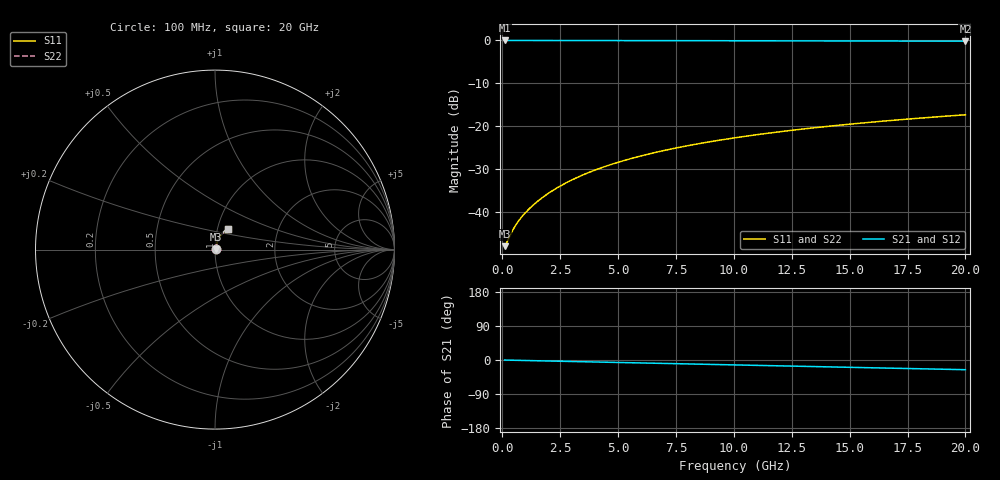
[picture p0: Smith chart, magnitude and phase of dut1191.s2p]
! Touchstone file exported from HFSS 2026.1.0
!  File:  C:/ffzhzh/LocalFiles/Ansys_Project_Files/temp_train_BSMRDL_1191_1783176309_18472.aedt
!  Generated:  10:46:20 PM Jul  4, 2026
!  Design:  BSMRDL
!  Project:  temp_train_BSMRDL_1191_1783176309_18472
! Variables:
!  h_bsmrdl = 2.63um
!  h_ox = 20um
!  h_rdl = 5um
!  h_sub = 80um
!  h_tmrdl = 5um
!  h_tsv = 80um
!  h_via = 3um
!  l_bsmrdl = 429.22um
!  l_sub = 829.22um
!  l_tmrdl = 200um
!  m_sub = 200um
!  pitch = 22.59um
!  r_tsv = 6um
!  s_tmrdl = 10um
!  w_bsmrdl = 15.7um
!  w_sub = 500um
!  w_tmrdl = 12um
!  x_tsv_center1 = 206um
!  x_tsv_center2 = 650.92um
!  x_tsv_center3 = 862.92um
!  x_tsv_center4 = 1307.84um
!  x_tsv_center5 = 1519.84um
!  x_tsv_center6 = 1964.76um
# GHz S MA R 50.000000
! Terminal data exported
! Port[1] = BSM_RDL1_1_T1
! Port[2] = BSM_RDL1_1_T2
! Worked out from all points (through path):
!   200 points, 100 MHz to 20 GHz, reference 50 ohm
!   highest |S21| = -0.03 dB at 100 MHz (marker M1); lowest = -0.2 dB at 20 GHz (marker M2)
!   group delay of S21, straight-line fit = 3.55 ps
!   lowest |S11| = -47.9 dB at 100 MHz (marker M3), VSWR 1.01, Z = 50.4 + j0.102 ohm
!   |S11| at or under -10 dB: start of sweep to end of sweep
!   |S22| runs from -47.9 to -17.3 dB; largest |S21 - S12| = 3.4e-15
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0.1  0.004025 14.6  0.9961 -0.1  0.9961 -0.1  0.004025 14.6
! Gamma 0 0 0 0
! Port Impedance 50 0 50 0
0.2  0.004484 26.5  0.996 -0.3  0.996 -0.3  0.004484 26.5
0.4  0.0058 41.0  0.9956 -0.6  0.9956 -0.6  0.0058 41.0
0.5  0.006506 45.3  0.9955 -0.7  0.9955 -0.7  0.006506 45.3
0.7  0.00789 51.2  0.9951 -1.0  0.9951 -1.0  0.00789 51.2
1  0.009892 57.0  0.9948 -1.4  0.9948 -1.4  0.009892 57.0
1.3  0.01188 61.2  0.9946 -1.8  0.9946 -1.8  0.01188 61.2
1.5  0.01322 63.3  0.9944 -2.0  0.9944 -2.0  0.01322 63.3
1.8  0.01526 65.9  0.9943 -2.4  0.9943 -2.4  0.01526 65.9
2.3  0.01873 68.9  0.994 -3.1  0.994 -3.1  0.01873 68.9
2.9  0.02298 71.0  0.9938 -3.8  0.9938 -3.8  0.02298 71.0
3.5  0.02728 72.3  0.9935 -4.6  0.9935 -4.6  0.02728 72.3
4.2  0.03232 73.0  0.9931 -5.5  0.9931 -5.5  0.03232 73.0
5  0.03808 73.3  0.9926 -6.6  0.9926 -6.6  0.03807 73.3
5.9  0.04452 73.1  0.9919 -7.7  0.9919 -7.7  0.04452 73.1
6.8  0.05092 72.7  0.9912 -8.9  0.9912 -8.9  0.05092 72.7
8.3  0.06144 71.5  0.9899 -10.8  0.9899 -10.8  0.06143 71.5
10.1  0.07378 69.8  0.9882 -13.1  0.9882 -13.1  0.07377 69.8
11.7  0.08448 68.1  0.9865 -15.2  0.9865 -15.2  0.08447 68.1
13.4  0.09556 66.2  0.9847 -17.3  0.9847 -17.3  0.09555 66.3
16.7  0.1163 62.5  0.981 -21.5  0.981 -21.5  0.1163 62.6
20  0.1359 58.7  0.9772 -25.6  0.9772 -25.6  0.1359 58.8
